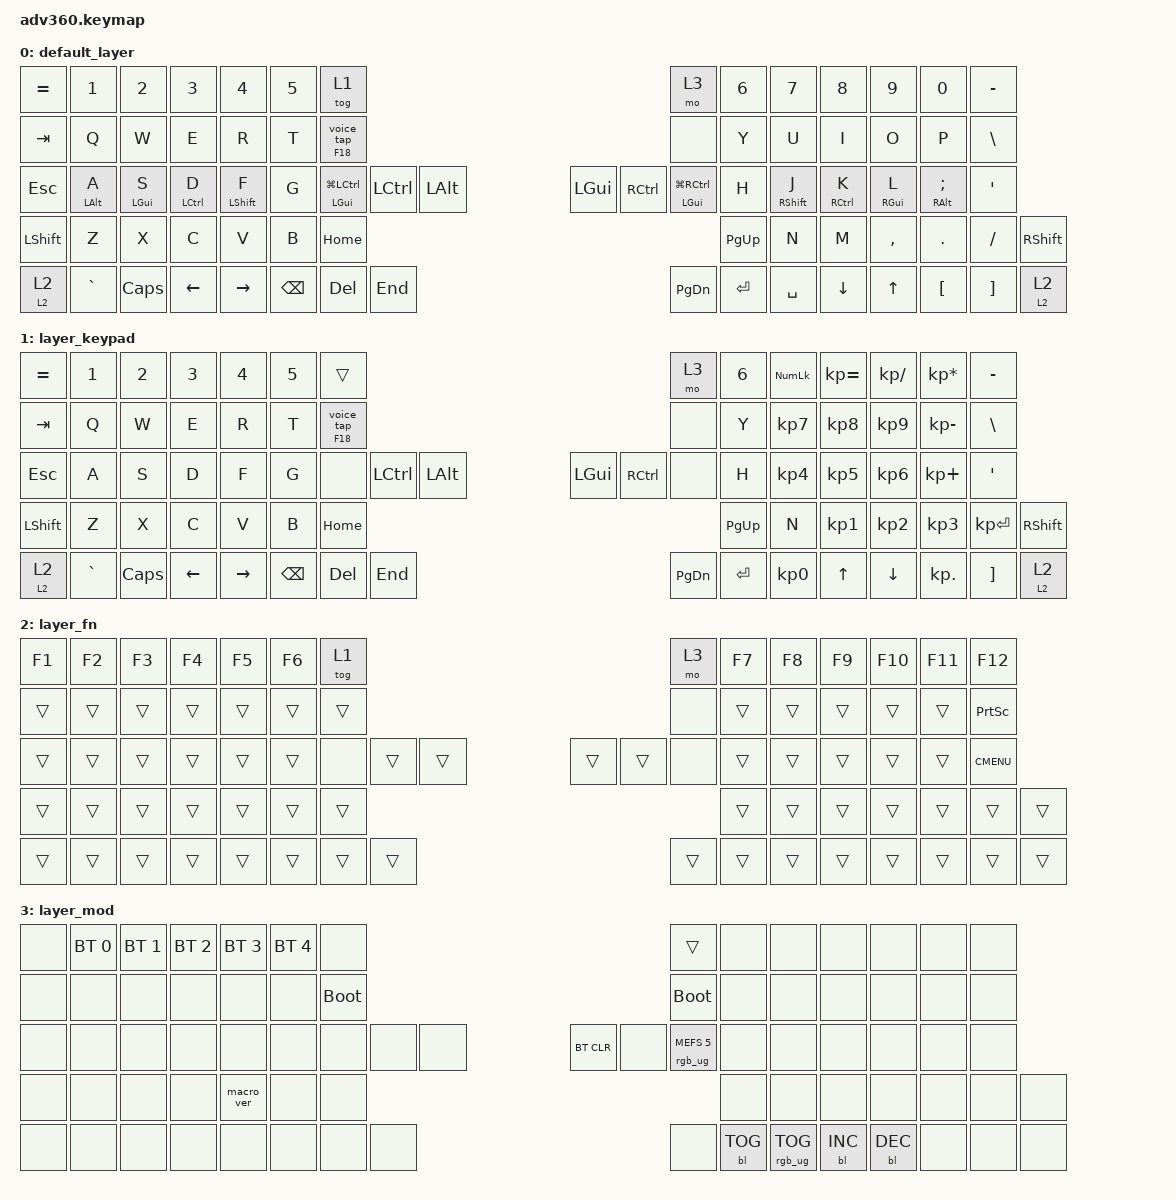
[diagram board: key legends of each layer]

/*
 * Copyright (c) 2020 The ZMK Contributors
 *
 * SPDX-License-Identifier: MIT
 */


/* THIS FILE WAS GENERATED!
 *
 * This file was generated automatically. You may or may not want to
 * edit it directly.
 */

#include <behaviors.dtsi>
#include <dt-bindings/zmk/keys.h>
#include <dt-bindings/zmk/bt.h>
#include <dt-bindings/zmk/rgb.h>
#include <dt-bindings/zmk/backlight.h>

#include "zmk-helpers/helper.h"
#include "zmk-helpers/key-labels/glove80.h"

/* use helper macros to define left and right hand keys */
#include "zmk-helpers/key-labels/adv360_custom.h"                           // key-position labels
#define KEYS_L LT0 LT1 LT2 LT3 LT4 LM0 LM1 LM2 LM3 LM4 LB0 LB1 LB2 LB3 LB4  // left-hand keys
#define KEYS_R RT0 RT1 RT2 RT3 RT4 RM0 RM1 RM2 RM3 RM4 RB0 RB1 RB2 RB3 RB4  // right-hand keys
#define THUMBS LH2 LH1 LH0 RH0 RH1 RH2                                      // thumb keys

/* left-hand HRMs */
ZMK_HOLD_TAP(hml,
    flavor = "balanced";
    tapping-term-ms = <280>;
    quick-tap-ms = <175>;                // repeat on tap-into-hold
    require-prior-idle-ms = <15>;
    bindings = <&kp>, <&kp>;
    hold-trigger-key-positions = <KEYS_R THUMBS>;
    hold-trigger-on-release;             // delay positional check until key-release
)

/* right-hand HRMs */
ZMK_HOLD_TAP(hmr,
    flavor = "balanced";
    tapping-term-ms = <280>;
    quick-tap-ms = <175>;                // repeat on tap-into-hold
    require-prior-idle-ms = <15>;
    bindings = <&kp>, <&kp>;
    hold-trigger-key-positions = <KEYS_L THUMBS>;
    hold-trigger-on-release;             // delay positional check until key-release
)

// Base Layer home row mods
#define F_LSHFT    &hml LSHFT F
#define D_LCTRL    &hml LCTRL D
#define S_LGUI     &hml LGUI  S
#define A_LALT     &hml LALT  A

#define J_RSHFT    &hml RSHFT J
#define K_RCTRL    &hml RCTRL K
#define L_RGUI     &hml RGUI  L
#define SEMI_RALT  &hml RALT  SEMI


#define MO_TOG(layer) &mo_tog layer layer   // Macro to apply momentary-layer-on-hold/toggle-layer-on-tap to a specific layer

#define HSK_LG_LCTRL &ho_sk LGUI LG(LCTRL)
#define HSK_LG_RCTRL &ho_sk LGUI LG(RCTRL)

// Key (1) = voice key. Tap sends F17 (held 30 ms), hold (>280 ms) sends F18 until release. The keys carry
// no meaning here; the laptop binds them (Whispering: F17 toggle, F18 push-to-talk).
#define VOICE_KEY &voice_tap_wrap F18 0   // tap binding = &voice_tap macro (param ignored)

/ {
  behaviors {
    #include "macros.dtsi"
    #include "version.dtsi"

    hm: homerow_mods {
        compatible = "zmk,behavior-hold-tap";
        label = "HOMEROW_MODS";
        #binding-cells = <2>;
        tapping-term-ms = <200>;
        quick_tap_ms = <175>;
        flavor = "tap-preferred";
        bindings = <&kp>, <&kp>;
    };
    mo_tog: behavior_mo_tog {
        compatible = "zmk,behavior-hold-tap";
        #binding-cells = <2>;
        flavor = "hold-preferred";
        tapping-term-ms = <200>;
        bindings = <&mo>, <&tog>;
    };
    ho_sk: behavior_hold_sticky {
        compatible = "zmk,behavior-hold-tap";
        #binding-cells = <2>;
        flavor = "hold-preferred";
        tapping-term-ms = <200>;
        bindings = <&kp>, <&sk>;
    };
    voice_tap: voice_tap {
        compatible = "zmk,behavior-macro";
        #binding-cells = <0>;
        wait-ms = <0>;
        tap-ms = <30>;                 // F17 held 30 ms: a 0 ms press/release of F17 never reached the host
        bindings = <&macro_tap &kp F17>;
    };
    voice_tap_wrap: voice_tap_wrap {   // hold-tap needs a 1-param binding; drop the param
        compatible = "zmk,behavior-hold-tap";
        #binding-cells = <2>;
        flavor = "hold-preferred";
        tapping-term-ms = <280>;   // same as the home-row mods; a 204 ms tap read as a hold at 200
        bindings = <&kp>, <&voice_tap>;
    };
  };

    keymap {
        compatible = "zmk,keymap";


        default_layer {
            bindings = <
  &kp EQUAL     &kp N1    &kp N2    &kp N3     &kp N4  &kp N5              &tog 1                                                                    &mo 3  &kp N6    &kp N7     &kp N8    &kp N9    &kp N0   &kp MINUS
    &kp TAB      &kp Q     &kp W     &kp E      &kp R   &kp T               VOICE_KEY                                                                    &none     &kp Y     &kp U      &kp I     &kp O     &kp P    &kp BSLH
    &kp ESC     A_LALT    S_LGUI   D_LCTRL    F_LSHFT   &kp G        HSK_LG_LCTRL  &kp LCTRL  &kp LALT                   &kp LGUI  &kp RCTRL  HSK_LG_RCTRL   &kp H   J_RSHFT    K_RCTRL    L_RGUI SEMI_RALT     &kp SQT
  &kp LSHFT      &kp Z     &kp X     &kp C      &kp V   &kp B                                 &kp HOME                  &kp PG_UP                            &kp N     &kp M  &kp COMMA   &kp DOT  &kp FSLH   &kp RSHFT
&mo_tog 2 2  &kp GRAVE  &kp CAPS  &kp LEFT  &kp RIGHT                    &kp BSPC    &kp DEL   &kp END                  &kp PG_DN  &kp ENTER     &kp SPACE          &kp DOWN     &kp UP  &kp LBKT  &kp RBKT &mo_tog 2 2
            >;
        };

        layer_keypad {
            bindings = <
  &kp EQUAL     &kp N1    &kp N2    &kp N3     &kp N4  &kp N5              &trans                                                                 &mo 3  &kp N6  &kp KP_NUM  &kp KP_EQUAL  &kp KP_DIVIDE  &kp KP_MULTIPLY   &kp MINUS
    &kp TAB      &kp Q     &kp W     &kp E      &kp R   &kp T               VOICE_KEY                                                                 &none   &kp Y   &kp KP_N7     &kp KP_N8      &kp KP_N9     &kp KP_MINUS    &kp BSLH
    &kp ESC      &kp A     &kp S     &kp D      &kp F   &kp G               &none  &kp LCTRL  &kp LALT                   &kp LGUI  &kp RCTRL      &none   &kp H   &kp KP_N4     &kp KP_N5      &kp KP_N6      &kp KP_PLUS     &kp SQT
  &kp LSHFT      &kp Z     &kp X     &kp C      &kp V   &kp B                                 &kp HOME                  &kp PG_UP                         &kp N   &kp KP_N1     &kp KP_N2      &kp KP_N3     &kp KP_ENTER   &kp RSHFT
&mo_tog 2 2  &kp GRAVE  &kp CAPS  &kp LEFT  &kp RIGHT                    &kp BSPC    &kp DEL   &kp END                  &kp PG_DN  &kp ENTER  &kp KP_N0              &kp UP      &kp DOWN     &kp KP_DOT         &kp RBKT &mo_tog 2 2
            >;
        };

        layer_fn {
            bindings = <
 &kp F1  &kp F2  &kp F3  &kp F4  &kp F5  &kp F6            &tog 1                                                   &mo 3  &kp F7  &kp F8  &kp F9  &kp F10  &kp F11          &kp F12
 &trans  &trans  &trans  &trans  &trans  &trans             &trans                                                   &none  &trans  &trans  &trans   &trans   &trans  &kp PRINTSCREEN
 &trans  &trans  &trans  &trans  &trans  &trans             &none  &trans  &trans                  &trans  &trans   &none  &trans  &trans  &trans   &trans   &trans      &kp K_CMENU
 &trans  &trans  &trans  &trans  &trans  &trans                            &trans                  &trans                  &trans  &trans  &trans   &trans   &trans           &trans
 &trans  &trans  &trans  &trans  &trans                    &trans  &trans  &trans                  &trans  &trans  &trans          &trans  &trans   &trans   &trans           &trans
            >;
        };

        layer_mod {
            bindings = <
  &none  &bt BT_SEL 0  &bt BT_SEL 1  &bt BT_SEL 2  &bt BT_SEL 3  &bt BT_SEL 4                  &none                                                                          &trans   &none       &none       &none   &none   &none   &none
  &none         &none         &none         &none         &none         &none            &bootloader                                                                     &bootloader   &none       &none       &none   &none   &none   &none
  &none         &none         &none         &none         &none         &none                  &none   &none   &none                  &bt BT_CLR       &none  &rgb_ug RGB_MEFS_CMD 5   &none       &none       &none   &none   &none   &none
  &none         &none         &none         &none    &macro_ver         &none                                  &none                       &none                                       &none       &none       &none   &none   &none   &none
  &none         &none         &none         &none         &none                                &none   &none   &none                       &none  &bl BL_TOG         &rgb_ug RGB_TOG          &bl BL_INC  &bl BL_DEC   &none   &none   &none
            >;
        };

    };
};
